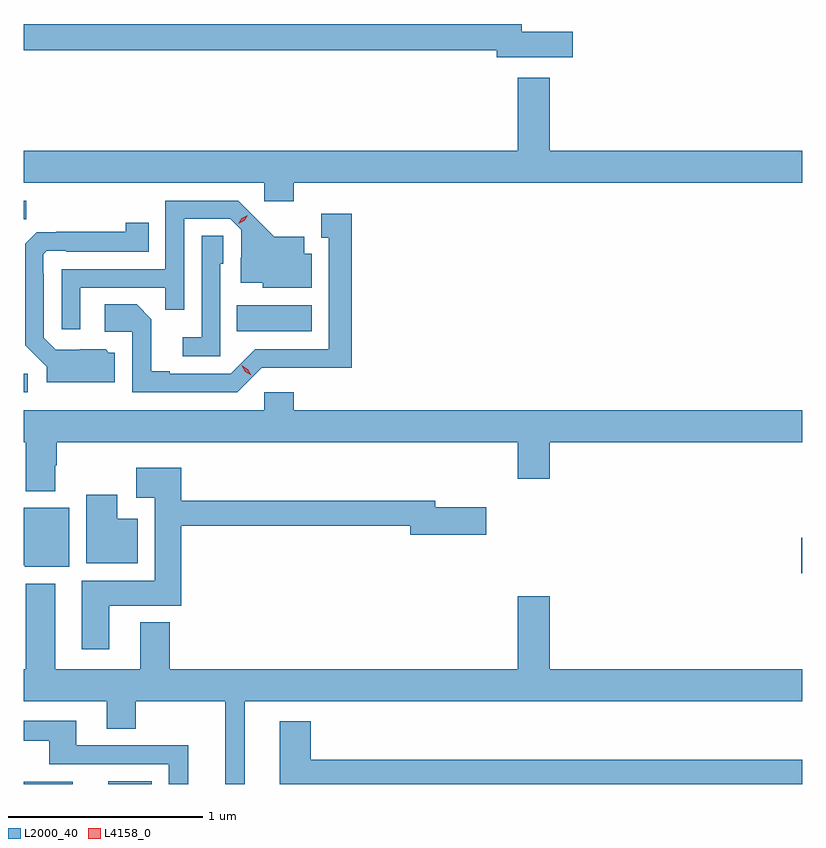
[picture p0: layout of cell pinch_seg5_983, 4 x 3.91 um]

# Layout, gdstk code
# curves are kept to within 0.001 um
import gdstk
lib = gdstk.Library(unit=1e-6, precision=1e-09)
def R(c, l, rs):  # rectangles x0, y0, x1, y1
    for r in rs: c.add(gdstk.rectangle(r[:2], r[2:], *l))
def P(c, l, *ps):  # polygons
    for p in ps: c.add(gdstk.Polygon(p, *l))
L2000_40 = (2000, 40)
L4158_0 = (4158, 0)

pinch_seg5_983 = lib.new_cell('pinch_seg5_983')
R(pinch_seg5_983, L2000_40, [(737.893,894.963,738.146,894.975), (738.326,894.963,738.55,894.976), (741.888,896.045,741.893,896.228), (737.893,896.976,737.914,897.072), (738.988,897.29,739.372,897.424), (737.893,897.865,737.907,897.96)])
P(pinch_seg5_983, L2000_40, [(740.713,898.827),(740.452,898.827),(740.452,898.868),(737.893,898.868),(737.893,898.732),(740.324,898.732),(740.324,898.697),(740.713,898.697)],
  [(739.28,898.052),(741.893,898.052),(741.893,898.216),(740.596,898.216),(740.596,898.591),(740.432,898.591),(740.432,898.216),(737.893,898.216),(737.893,898.052),(739.128,898.052),(739.128,897.957),(739.28,897.957)],
  [(738.183,897.513),(738.619,897.513),(738.619,897.4),(738.717,897.4),(738.717,897.867),(738.954,897.867),(739.011,897.81),(739.011,897.668),(739.007,897.668),(739.007,897.539),(739.122,897.539),(739.122,897.512),(739.372,897.512),(739.372,897.688),(739.333,897.688),(739.333,897.775),(739.181,897.775),(738.994,897.96),(738.621,897.96),(738.621,897.609),(738.087,897.609),(738.087,897.3),(738.183,897.3)],
  [(739.116,897.102),(739.579,897.101),(739.579,897.892),(739.421,897.892),(739.421,897.771),(739.46,897.771),(739.46,897.198),(739.083,897.198),(738.957,897.072),(738.643,897.072),(738.643,897.085),(738.549,897.085),(738.549,897.352),(738.473,897.428),(738.309,897.428),(738.309,897.288),(738.45,897.288),(738.45,896.976),(738.99,896.976)],
  [(738.361,897.18),(738.33,897.18),(738.314,897.196),(738.057,897.195),(737.997,897.255),(737.997,897.584),(737.994,897.584),(737.994,897.684),(738.012,897.702),(738.112,897.702),(738.112,897.699),(738.536,897.699),(738.536,897.847),(738.418,897.847),(738.418,897.8),(737.96,897.799),(737.901,897.74),(737.901,897.218),(738.011,897.108),(738.011,897.026),(738.361,897.026)],
  [(738.903,897.636),(738.918,897.636),(738.918,897.779),(738.807,897.779),(738.807,897.259),(738.711,897.259),(738.711,897.162),(738.903,897.162)],
  [(738.055,896.6),(738.063,896.6),(738.063,896.72),(740.432,896.72),(740.432,896.532),(740.596,896.532),(740.596,896.72),(741.893,896.72),(741.893,896.884),(739.28,896.884),(739.28,896.977),(739.128,896.977),(739.128,896.884),(737.893,896.884),(737.893,896.72),(737.903,896.72),(737.903,896.468),(738.055,896.468)],
  [(738.331,895.88),(738.701,895.88),(738.701,896.29),(739.88,896.29),(739.88,896.243),(740.269,896.243),(740.269,896.385),(740.008,896.385),(740.008,896.419),(738.701,896.419),(738.701,896.587),(738.471,896.587),(738.471,896.435),(738.566,896.435),(738.566,896.008),(738.191,896.008),(738.191,895.656),(738.331,895.656)],
  [(738.478,896.326),(738.373,896.326),(738.373,896.449),(738.215,896.449),(738.215,896.096),(738.478,896.096)],
  [(738.127,896.383),(737.894,896.383),(737.894,896.204),(737.893,896.204),(737.893,896.088),(737.898,896.088),(737.898,896.078),(738.127,896.078)],
  [(739.028,895.388),(741.893,895.388),(741.893,895.552),(740.596,895.552),(740.596,895.927),(740.432,895.927),(740.432,895.552),(738.644,895.552),(738.644,895.795),(738.491,895.795),(738.491,895.552),(738.055,895.552),(738.055,895.993),(737.903,895.993),(737.903,895.552),(737.893,895.552),(737.893,895.388),(738.32,895.388),(738.32,895.246),(738.468,895.246),(738.468,895.388),(738.929,895.388),(738.929,894.963),(739.028,894.963)],
  [(738.737,895.161),(738.163,895.161),(738.163,895.288),(737.893,895.288),(737.893,895.184),(738.023,895.184),(738.023,895.065),(738.639,895.065),(738.639,894.963),(738.737,894.963)],
  [(741.893,895.087),(739.367,895.087),(739.367,895.285),(739.208,895.285),(739.208,894.963),(741.893,894.963)])
P(pinch_seg5_983, L4158_0, [(738.996,897.842),(738.996,897.842),(739.013,897.871),(739.044,897.886),(739.045,897.886),(739.045,897.886),(739.027,897.856),(738.996,897.842)],
  [(739.061,897.062),(739.03,897.081),(739.012,897.113),(739.012,897.114),(739.013,897.114),(739.044,897.095),(739.062,897.063),(739.062,897.062)])

lib.write_gds('pinch_seg5_983.gds')
